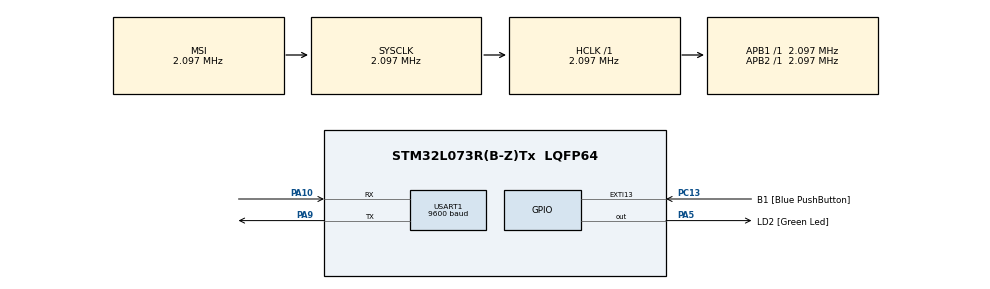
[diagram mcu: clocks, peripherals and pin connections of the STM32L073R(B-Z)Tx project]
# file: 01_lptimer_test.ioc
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LPTIM1.ClockPrescaler=LPTIM_PRESCALER_DIV16
Mcu.Family=STM32L0
Mcu.Name=STM32L073R(B-Z)Tx
Mcu.Package=LQFP64
NVIC.LPTIM1_IRQn=true\:0\:0\:false\:false\:true\:true\:true\:true
PA10.Mode=Asynchronous
PA10.Signal=USART1_RX
PA13.GPIO_Label=TMS
PA13.Mode=Serial_Wire
PA13.Signal=SYS_SWDIO
PA14.GPIO_Label=TCK
PA14.Mode=Serial_Wire
PA14.Signal=SYS_SWCLK
PA2.GPIO_Label=USART_TX
PA2.Signal=USART2_TX
PA3.GPIO_Label=USART_RX
PA3.Signal=USART2_RX
PA5.GPIO_Label=LD2 [Green Led]
PA5.Signal=GPIO_Output
PA9.Mode=Asynchronous
PA9.Signal=USART1_TX
PC13.GPIO_Label=B1 [Blue PushButton]
PC13.GPIO_ModeDefaultEXTI=GPIO_MODE_IT_FALLING
PC13.Signal=GPXTI13
PC14-OSC32_IN.Mode=LSE-External-Oscillator
PC14-OSC32_IN.Signal=RCC_OSC32_IN
PC15-OSC32_OUT.Mode=LSE-External-Oscillator
PC15-OSC32_OUT.Signal=RCC_OSC32_OUT
PH0-OSC_IN.GPIO_Label=MCO
PH0-OSC_IN.Mode=HSE-External-Clock-Source
PH0-OSC_IN.Signal=RCC_OSC_IN
ProjectManager.HeapSize=0x200
ProjectManager.StackSize=0x400
ProjectManager.TargetToolchain=STM32CubeIDE
RCC.AHBFreq_Value=2097000
RCC.APB1Freq_Value=2097000
RCC.APB1TimFreq_Value=2097000
RCC.APB2Freq_Value=2097000
RCC.APB2TimFreq_Value=2097000
RCC.HSE_VALUE=8000000
RCC.HSI16_VALUE=16000000
RCC.HSI48_VALUE=48000000
RCC.HSI_VALUE=16000000
RCC.LptimClockSelection=RCC_LPTIM1CLKSOURCE_LSI
RCC.MSI_VALUE=2097000
RCC.SYSCLKFreq_VALUE=2097000
RCC.VCOOutputFreq_Value=48000000
USART1.BaudRate=9600
USART1.VirtualMode-Asynchronous=VM_ASYNC
VP_LPTIM1_VS_LPTIM_counterModeInternalClock.Mode=Counts__internal_clock_event_00
board=NUCLEO-L073RZ

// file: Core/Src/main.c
/* USER CODE BEGIN Header */
/**
  ******************************************************************************
  * @file           : main.c
  * @brief          : Main program body
  ******************************************************************************
  * @attention
  *
  * Copyright (c) 2025 STMicroelectronics.
  * All rights reserved.
  *
  * This software is licensed under terms that can be found in the LICENSE file
  * in the root directory of this software component.
  * If no LICENSE file comes with this software, it is provided AS-IS.
  *
  ******************************************************************************
  */
/* USER CODE END Header */
#include "main.h"

/* USER CODE BEGIN Includes */
#include <stdio.h>
#include <string.h>
#include "stm32l0xx_ll_lptim.h"
/* USER CODE END Includes */

UART_HandleTypeDef huart1;

/* USER CODE BEGIN PV */
volatile uint32_t timer_count = 0;
volatile uint32_t last_tick = 0;
/* USER CODE END PV */

void SystemClock_Config(void);
static void MX_GPIO_Init(void);
static void MX_LPTIM1_Init(void);
static void MX_USART1_UART_Init(void);
/* USER CODE BEGIN PFP */
// LPTIM Interrupt Handler
// LPTIM Interrupt Handler
void LPTIM1_IRQHandler(void) {
    if (LL_LPTIM_IsActiveFlag_ARRM(LPTIM1)) {
        LL_LPTIM_ClearFLAG_ARRM(LPTIM1);

        uint32_t current_tick = HAL_GetTick();
        uint32_t elapsed = current_tick - last_tick;

        char buffer[50];
        sprintf(buffer, "Timer %lu: Elapsed %lu ms\r\n", timer_count++, elapsed);
        HAL_UART_Transmit(&huart1, (uint8_t*)buffer, strlen(buffer), 100);

        last_tick = current_tick;
    }
}
/* USER CODE END PFP */

/* USER CODE BEGIN 0 */

// Start LPTIM Test
// Start LPTIM Test using LL
void lptim_test_start(void) {
    char buffer[50];

    sprintf(buffer, "LPTIM Test Starting - 500ms intervals\r\n");
    HAL_UART_Transmit(&huart1, (uint8_t*)buffer, strlen(buffer), 1000);

    last_tick = HAL_GetTick();

    // Start LPTIM using LL functions
    LL_LPTIM_Enable(LPTIM1);
    LL_LPTIM_SetAutoReload(LPTIM1, 1150);  // 500ms at ~2.3kHz
    LL_LPTIM_EnableIT_ARRM(LPTIM1);
    LL_LPTIM_StartCounter(LPTIM1, LL_LPTIM_OPERATING_MODE_CONTINUOUS);
}

void lptim_uart_test(void) {
    lptim_test_start();

    while (1) {
        HAL_Delay(1000);
    }
}
/* USER CODE END 0 */

int main(void)
{

  /* MCU Configuration--------------------------------------------------------*/

  /* Reset of all peripherals, Initializes the Flash interface and the Systick. */
  HAL_Init();

  /* Configure the system clock */
  SystemClock_Config();

  /* Initialize all configured peripherals */
  MX_GPIO_Init();
  MX_LPTIM1_Init();
  MX_USART1_UART_Init();
  /* USER CODE BEGIN 2 */
  lptim_uart_test();

  /* USER CODE END 2 */

  /* Infinite loop */
  while (1)
  {

  }
}

void SystemClock_Config(void)
{
  RCC_OscInitTypeDef RCC_OscInitStruct = {0};
  RCC_ClkInitTypeDef RCC_ClkInitStruct = {0};
  RCC_PeriphCLKInitTypeDef PeriphClkInit = {0};

  /** Configure the main internal regulator output voltage
  */
  __HAL_PWR_VOLTAGESCALING_CONFIG(PWR_REGULATOR_VOLTAGE_SCALE1);

  /** Initializes the RCC Oscillators according to the specified parameters
  * in the RCC_OscInitTypeDef structure.
  */
  RCC_OscInitStruct.OscillatorType = RCC_OSCILLATORTYPE_LSI|RCC_OSCILLATORTYPE_MSI;
  RCC_OscInitStruct.LSIState = RCC_LSI_ON;
  RCC_OscInitStruct.MSIState = RCC_MSI_ON;
  RCC_OscInitStruct.MSICalibrationValue = 0;
  RCC_OscInitStruct.MSIClockRange = RCC_MSIRANGE_5;
  RCC_OscInitStruct.PLL.PLLState = RCC_PLL_NONE;
  if (HAL_RCC_OscConfig(&RCC_OscInitStruct) != HAL_OK)
  {
    Error_Handler();
  }

  /** Initializes the CPU, AHB and APB buses clocks
  */
  RCC_ClkInitStruct.ClockType = RCC_CLOCKTYPE_HCLK|RCC_CLOCKTYPE_SYSCLK
                              |RCC_CLOCKTYPE_PCLK1|RCC_CLOCKTYPE_PCLK2;
  RCC_ClkInitStruct.SYSCLKSource = RCC_SYSCLKSOURCE_MSI;
  RCC_ClkInitStruct.AHBCLKDivider = RCC_SYSCLK_DIV1;
  RCC_ClkInitStruct.APB1CLKDivider = RCC_HCLK_DIV1;
  RCC_ClkInitStruct.APB2CLKDivider = RCC_HCLK_DIV1;

  if (HAL_RCC_ClockConfig(&RCC_ClkInitStruct, FLASH_LATENCY_0) != HAL_OK)
  {
    Error_Handler();
  }
  PeriphClkInit.PeriphClockSelection = RCC_PERIPHCLK_USART1|RCC_PERIPHCLK_LPTIM1;
  PeriphClkInit.Usart1ClockSelection = RCC_USART1CLKSOURCE_PCLK2;
  PeriphClkInit.LptimClockSelection = RCC_LPTIM1CLKSOURCE_LSI;

  if (HAL_RCCEx_PeriphCLKConfig(&PeriphClkInit) != HAL_OK)
  {
    Error_Handler();
  }
}

static void MX_LPTIM1_Init(void)
{

  /* Peripheral clock enable */
  LL_APB1_GRP1_EnableClock(LL_APB1_GRP1_PERIPH_LPTIM1);

  /* LPTIM1 interrupt Init */
  NVIC_SetPriority(LPTIM1_IRQn, 0);
  NVIC_EnableIRQ(LPTIM1_IRQn);

  LL_LPTIM_SetClockSource(LPTIM1, LL_LPTIM_CLK_SOURCE_INTERNAL);
  LL_LPTIM_SetPrescaler(LPTIM1, LL_LPTIM_PRESCALER_DIV16);
  LL_LPTIM_SetPolarity(LPTIM1, LL_LPTIM_OUTPUT_POLARITY_REGULAR);
  LL_LPTIM_SetUpdateMode(LPTIM1, LL_LPTIM_UPDATE_MODE_IMMEDIATE);
  LL_LPTIM_SetCounterMode(LPTIM1, LL_LPTIM_COUNTER_MODE_INTERNAL);
  LL_LPTIM_TrigSw(LPTIM1);

}

static void MX_USART1_UART_Init(void)
{

  huart1.Instance = USART1;
  huart1.Init.BaudRate = 9600;
  huart1.Init.WordLength = UART_WORDLENGTH_8B;
  huart1.Init.StopBits = UART_STOPBITS_1;
  huart1.Init.Parity = UART_PARITY_NONE;
  huart1.Init.Mode = UART_MODE_TX_RX;
  huart1.Init.HwFlowCtl = UART_HWCONTROL_NONE;
  huart1.Init.OverSampling = UART_OVERSAMPLING_16;
  huart1.Init.OneBitSampling = UART_ONE_BIT_SAMPLE_DISABLE;
  huart1.AdvancedInit.AdvFeatureInit = UART_ADVFEATURE_NO_INIT;
  if (HAL_UART_Init(&huart1) != HAL_OK)
  {
    Error_Handler();
  }

}

static void MX_GPIO_Init(void)
{
  GPIO_InitTypeDef GPIO_InitStruct = {0};

  /* GPIO Ports Clock Enable */
  __HAL_RCC_GPIOC_CLK_ENABLE();
  __HAL_RCC_GPIOH_CLK_ENABLE();
  __HAL_RCC_GPIOA_CLK_ENABLE();

  /*Configure GPIO pin Output Level */
  HAL_GPIO_WritePin(LD2_GPIO_Port, LD2_Pin, GPIO_PIN_RESET);

  /*Configure GPIO pin : B1_Pin */
  GPIO_InitStruct.Pin = B1_Pin;
  GPIO_InitStruct.Mode = GPIO_MODE_IT_FALLING;
  GPIO_InitStruct.Pull = GPIO_NOPULL;
  HAL_GPIO_Init(B1_GPIO_Port, &GPIO_InitStruct);

  /*Configure GPIO pins : USART_TX_Pin USART_RX_Pin */
  GPIO_InitStruct.Pin = USART_TX_Pin|USART_RX_Pin;
  GPIO_InitStruct.Mode = GPIO_MODE_AF_PP;
  GPIO_InitStruct.Pull = GPIO_NOPULL;
  GPIO_InitStruct.Speed = GPIO_SPEED_FREQ_VERY_HIGH;
  GPIO_InitStruct.Alternate = GPIO_AF4_USART2;
  HAL_GPIO_Init(GPIOA, &GPIO_InitStruct);

  /*Configure GPIO pin : LD2_Pin */
  GPIO_InitStruct.Pin = LD2_Pin;
  GPIO_InitStruct.Mode = GPIO_MODE_OUTPUT_PP;
  GPIO_InitStruct.Pull = GPIO_NOPULL;
  GPIO_InitStruct.Speed = GPIO_SPEED_FREQ_LOW;
  HAL_GPIO_Init(LD2_GPIO_Port, &GPIO_InitStruct);

}

void Error_Handler(void)
{
  __disable_irq();
  while (1)
  {
  }
}
